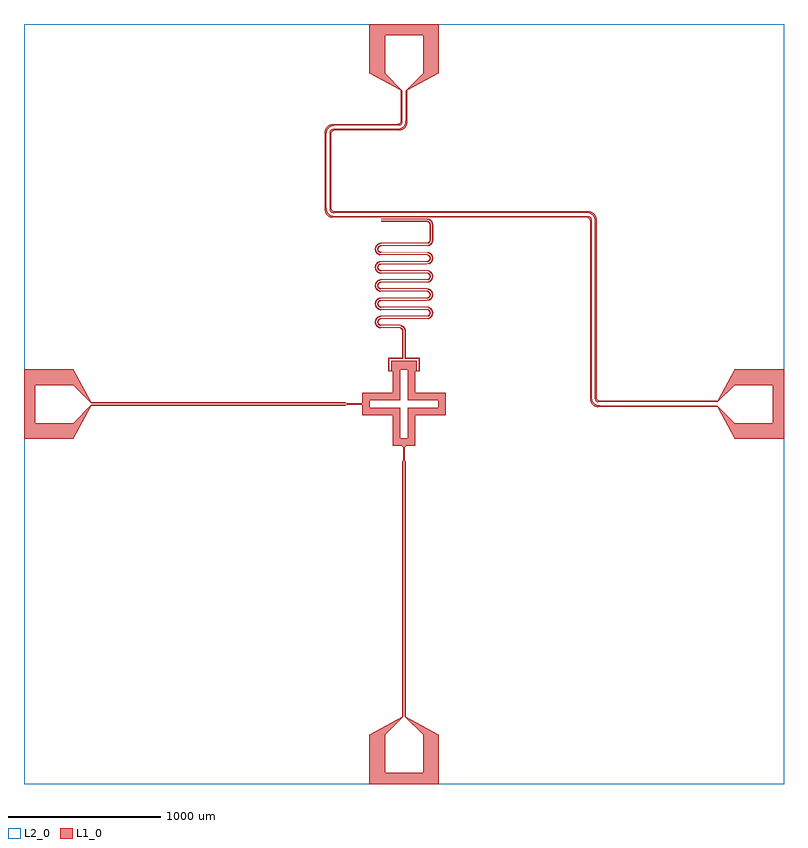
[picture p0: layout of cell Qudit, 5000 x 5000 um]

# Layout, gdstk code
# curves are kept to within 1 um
import gdstk
lib = gdstk.Library(unit=1e-6, precision=1e-09)
def R(c, l, rs):  # rectangles x0, y0, x1, y1
    for r in rs: c.add(gdstk.rectangle(r[:2], r[2:], *l))
def P(c, l, *ps):  # polygons
    for p in ps: c.add(gdstk.Polygon(p, *l))
L1_0 = (1, 0)
L2_0 = (2, 0)

qudit = lib.new_cell('Qudit')
P(qudit, L1_0, [(-228,-2500),(-228,-2177),(-10,-2057),(-10,-381),(-4,-371),(-5,-284),(-2,-284),(-2,-371),(-5,-381),(-5,-2057),(-125,-2177),(-125,-2427),(125,-2427),(125,-2177),(5,-2057),(5,-381),(2,-371),(2,-280),(-11,-280),(-11,-278),(13,-278),(13,-280),(4,-280),(4,-371),(10,-381),(10,-2057),(228,-2177),(228,-2500)],
  [(-2500,-228),(-2500,125),(-2427,125),(-2427,-125),(-2177,-125),(-2057,-5),(-386,-5),(-375.5,-2.5),(-282,-2.5),(-282,2.5),(-375.5,2.5),(-386,5),(-2057,5),(-2177,125),(-2500,125),(-2500,228),(-2177,228),(-2057.55,11),(-386,11),(-375.5,5.5),(-279,5.5),(-279,-5.5),(-375.5,-5.5),(-386,-11),(-2057.55,-11),(-2177,-228)],
  [(-74,-275),(-74,-74),(-275,-74),(-275,74),(-74,74),(-74,225),(-24,225),(-24,24),(-225,24),(-225,-24),(-24,-24),(-24,-225),(24,-225),(24,-24),(225,-24),(225,24),(24,24),(24,225),(-74,225),(-74,275),(74,275),(74,74),(275,74),(275,-74),(74,-74),(74,-275)],
  [(-103,214),(-103,304),(-11.002,304),(-11.469,483.186),(-13.548,488.5),(-17.334,493.16),(-22.384,496.406),(-27.896,497.883),(-151.303,498.019),(-159.035,499.006),(-167.624,501.979),(-175.347,506.771),(-181.825,513.146),(-186.739,520.793),(-189.848,529.334),(-190.998,538.349),(-190.134,547.397),(-187.82,554.841),(-183.401,562.783),(-177.34,569.557),(-169.937,574.829),(-161.553,578.341),(-152.602,579.919),(152.403,580.154),(159.757,582.7),(165.474,587.98),(168.594,595.109),(168.708,602.299),(166.451,608.499),(162.666,613.159),(157.059,616.638),(151.203,617.96),(-150.089,618),(-159.035,619.006),(-167.624,621.979),(-176.357,627.591),(-182.629,634.169),(-187.298,641.967),(-190.134,650.603),(-190.957,660.951),(-189.521,669.926),(-186.143,678.364),(-180.121,686.82),(-172.169,693.493),(-162.796,697.954),(-152.602,699.919),(152.403,700.154),(159.235,702.398),(165.116,707.494),(168.31,713.937),(168.803,721.704),(167.021,727.437),(163.109,732.75),(157.615,736.405),(151.203,737.96),(-150.089,738),(-157.762,738.74),(-166.441,741.438),(-174.312,745.983),(-180.989,752.15),(-186.143,759.636),(-189.521,768.074),(-190.957,777.049),(-190.38,786.12),(-187.82,794.841),(-181.825,804.854),(-174.312,812.017),(-165.241,817.064),(-155.192,819.672),(151.203,820.04),(158.704,822.113),(164.744,827.02),(168.31,833.937),(168.88,841.106),(167.021,847.437),(163.109,852.75),(157.615,856.405),(151.203,857.96),(-150.089,858),(-157.762,858.74),(-166.441,861.438),(-174.312,865.983),(-180.989,872.15),(-186.143,879.636),(-189.521,888.074),(-190.957,897.049),(-190.586,904.835),(-188.303,913.633),(-183.401,922.783),(-175.347,931.229),(-166.441,936.562),(-155.192,939.672),(151.203,940.04),(158.704,942.113),(164.744,947.02),(168.31,953.937),(168.88,961.106),(167.021,967.437),(163.109,972.75),(157.615,976.405),(151.203,977.96),(-150.089,978),(-157.762,978.74),(-166.441,981.438),(-173.252,985.228),(-180.121,991.18),(-184.842,997.383),(-188.303,1004.367),(-190.586,1013.165),(-190.957,1020.951),(-189.521,1029.926),(-184.139,1041.711),(-176.357,1050.409),(-166.441,1056.562),(-153.899,1059.816),(149.954,1060),(157.338,1061.476),(161.743,1064.065),(165.298,1067.735),(167.746,1072.219),(168.912,1077.194),(168.976,1179.904),(167.404,1186.618),(163.539,1192.328),(157.891,1196.283),(151.504,1197.94),(-150.002,1198),(-150.002,1204),(151.584,1203.95),(160.383,1201.741),(167.815,1196.537),(172.901,1189.023),(174.97,1180.19),(174.797,1075.835),(173.057,1069.341),(169.892,1063.86),(165.138,1059.106),(159.657,1055.941),(149.978,1054),(-153.329,1053.842),(-164.035,1051.064),(-172.5,1045.812),(-179.743,1037.453),(-183.737,1028.327),(-184.893,1021.774),(-184.646,1014.019),(-183.078,1007.552),(-179.743,1000.547),(-174.947,994.448),(-169.849,990.171),(-164.035,986.936),(-156.626,984.632),(-150.042,984),(151.584,983.949),(160.021,981.902),(167.25,977.093),(172.397,970.101),(174.843,961.771),(174.093,952.338),(169.892,943.86),(162.153,937.154),(153.163,934.202),(-152.222,933.93),(-161.973,931.89),(-170.754,927.185),(-177.854,920.197),(-182.698,911.491),(-184.646,903.981),(-184.893,896.226),(-183.737,889.673),(-180.853,882.47),(-176.454,876.079),(-170.754,870.815),(-164.035,866.936),(-156.626,864.632),(-150.042,864),(151.584,863.949),(160.021,861.902),(167.25,857.093),(172.397,850.101),(174.843,841.771),(174.093,832.338),(169.892,823.86),(162.153,817.154),(153.163,814.202),(-152.222,813.93),(-161.973,811.89),(-169.849,807.829),(-176.454,801.921),(-181.84,793.54),(-184.261,786.168),(-184.998,778.445),(-184.016,770.748),(-181.362,763.457),(-176.454,756.079),(-170.754,750.815),(-164.035,746.936),(-156.626,744.632),(-150.042,744),(151.584,743.949),(160.021,741.902),(167.25,737.093),(172.034,730.806),(174.743,722.558),(174.293,713.106),(169.892,703.86),(162.153,697.154),(153.163,694.202),(-152.222,693.93),(-160.923,692.253),(-168.925,688.444),(-175.713,682.748),(-180.853,675.53),(-183.737,668.327),(-184.963,660.665),(-184.261,651.832),(-181.84,644.46),(-177.168,636.93),(-171.638,631.488),(-165.045,627.397),(-156.626,624.632),(-150.042,624),(151.584,623.949),(159.289,622.209),(166.667,617.631),(171.648,611.5),(174.618,603.341),(174.293,593.106),(169.892,583.86),(162.153,577.154),(153.163,574.202),(-151.112,573.983),(-158.792,572.879),(-166.04,570.11),(-173.339,565.085),(-178.513,559.302),(-182.285,552.522),(-184.471,545.078),(-184.963,537.335),(-183.737,529.673),(-180.853,522.47),(-176.454,516.079),(-170.754,510.815),(-164.035,506.936),(-157.713,504.859),(-151.112,504.017),(-26.444,503.745),(-19.257,501.573),(-13.039,497.365),(-8.553,491.842),(-5.707,484.894),(-5.002,478.98),(-5.002,299),(-98,299),(-98,219),(-83,219),(-83,284),(83,284),(83,219),(98,219),(98,299),(4.998,299),(4.959,480.665),(4.012,487.252),(1.835,493.54),(-1.492,499.302),(-5.849,504.331),(-15.969,511.064),(-27.782,513.93),(-149.962,514),(-157.045,515.013),(-162.157,517.154),(-167.254,520.907),(-170.816,525.152),(-173.626,530.824),(-174.923,537.019),(-174.747,542.558),(-173.355,547.922),(-170.366,553.501),(-166.671,557.631),(-162.157,560.846),(-157.045,562.987),(-150.795,563.987),(155.528,564.439),(161.969,566.11),(167.977,568.97),(173.335,572.915),(178.509,578.698),(181.836,584.46),(184.257,591.832),(184.994,598.445),(184.467,605.078),(180.849,615.53),(173.335,625.085),(164.031,631.064),(153.325,633.842),(-154.733,634.452),(-160.747,636.427),(-165.456,639.349),(-169.896,643.86),(-172.742,648.615),(-174.622,654.659),(-174.973,660.19),(-173.874,666.423),(-171.652,671.5),(-167.819,676.536),(-162.844,680.449),(-157.045,682.987),(-150.795,683.987),(155.528,684.439),(161.969,686.11),(167.977,688.97),(173.335,692.915),(178.509,698.698),(181.836,704.46),(184.012,710.748),(184.959,717.335),(184.642,723.981),(181.358,734.543),(174.151,744.331),(165.041,750.603),(153.325,753.842),(-154.733,754.452),(-160.025,756.098),(-164.824,758.869),(-168.895,762.629),(-172.038,767.194),(-174.097,772.338),(-174.973,777.81),(-174.622,783.341),(-172.742,789.385),(-168.895,795.371),(-163.518,800.031),(-157.045,802.987),(-150.795,803.987),(155.528,804.439),(161.969,806.11),(167.977,808.97),(173.335,812.915),(177.85,817.803),(181.358,823.457),(183.733,829.673),(184.889,836.226),(184.783,842.879),(181.836,853.54),(174.943,863.552),(165.041,870.603),(153.325,873.842),(-154.733,874.452),(-160.025,876.098),(-164.824,878.869),(-171.652,886.5),(-173.874,891.577),(-174.923,897.019),(-174.747,902.558),(-173.355,907.922),(-169.896,914.14),(-164.824,919.131),(-158.552,922.492),(-151.588,923.949),(155.528,924.439),(161.969,926.11),(167.977,928.97),(177.164,936.93),(180.849,942.47),(183.42,948.608),(184.783,955.121),(184.889,961.774),(181.836,973.54),(174.943,983.552),(165.041,990.603),(153.325,993.842),(-154.733,994.452),(-164.178,998.409),(-171.245,1005.82),(-174.747,1015.442),(-174.923,1020.981),(-173.874,1026.423),(-170.816,1032.848),(-165.456,1038.651),(-159.293,1042.209),(-151.588,1043.949),(150.553,1044.004),(157.709,1044.86),(164.031,1046.936),(171.634,1051.488),(177.51,1057.364),(182.062,1064.967),(184.559,1073.47),(184.959,1180.665),(182.281,1192.522),(175.329,1203.153),(165.54,1210.36),(153.877,1213.785),(-150.002,1214),(-150.002,1220),(150.042,1220),(160.295,1218.686),(172.164,1213.492),(181.406,1205.355),(188.061,1194.238),(190.916,1181.6),(190.581,1073.165),(188.298,1064.368),(184.134,1056.289),(178.291,1049.327),(171.059,1043.822),(161.549,1039.66),(150.649,1038.005),(-151.207,1037.96),(-157.063,1036.638),(-162.214,1033.554),(-166.146,1029.017),(-168.314,1024.063),(-168.712,1015.701),(-165.478,1007.98),(-159.239,1002.398),(-151.207,1000.04),(156.476,999.486),(164.021,997.529),(169.933,994.829),(180.117,986.82),(184.135,981.711),(187.816,974.841),(190.87,962.249),(190.747,954.455),(189.15,946.826),(186.139,939.636),(181.821,933.146),(176.353,927.591),(171.059,923.821),(164.021,920.471),(156.476,918.514),(-150.605,917.989),(-155.93,917.05),(-160.775,914.649),(-164.748,910.98),(-167.75,905.78),(-168.884,896.894),(-166.146,888.983),(-160.273,883.017),(-151.808,880.087),(150.085,880),(157.758,879.26),(164.021,877.529),(171.059,874.179),(180.985,865.85),(187.816,854.841),(190.87,842.249),(190.747,834.455),(189.15,826.826),(186.139,819.636),(181.821,813.146),(176.353,807.591),(171.059,803.821),(164.021,800.471),(156.476,798.514),(-150.605,797.989),(-155.355,797.229),(-160.273,794.983),(-164.36,791.441),(-167.284,786.892),(-168.979,778.096),(-166.455,769.501),(-160.273,763.017),(-151.808,760.087),(150.085,760),(157.758,759.26),(169.933,754.829),(180.117,746.82),(187.294,736.033),(190.747,723.545),(190.87,715.751),(189.517,708.074),(186.735,700.793),(182.625,694.169),(177.336,688.443),(171.059,683.821),(164.021,680.471),(156.476,678.514),(-150.605,677.989),(-155.355,677.229),(-159.761,675.3),(-163.542,672.327),(-166.455,668.499),(-168.979,659.904),(-168.598,655.109),(-167.025,650.563),(-164.36,646.559),(-160.775,643.351),(-156.5,641.147),(-151.808,640.087),(150.085,640),(157.758,639.26),(169.933,634.829),(180.117,626.82),(187.294,616.033),(190.582,604.835),(190.953,597.049),(189.844,589.334),(187.294,581.967),(183.397,575.217),(178.292,569.326),(172.165,564.507),(164.021,560.471),(156.476,558.514),(-150.605,557.989),(-158.708,555.887),(-165.12,550.506),(-168.712,542.299),(-168.941,537.494),(-167.956,532.786),(-163.113,525.25),(-159.239,522.398),(-154.773,520.61),(-26.753,519.871),(-13.564,516.561),(-2.183,509.119),(3.014,503.309),(7.018,496.622),(9.684,489.297),(10.916,481.6),(10.998,304),(103,304),(103,214),(78,214),(78,279),(-78,279),(-78,214)],
  [(2177,-228),(2063.605,-22),(1287.238,-21.9),(1270.724,-19.993),(1256.503,-15.01),(1244.232,-6.708),(1234.499,4.461),(1226.511,22.603),(1224.014,45.507),(1224,1197.319),(1236,1197.319),(1236.011,45.899),(1238.02,26.043),(1244.586,10.965),(1252.705,1.824),(1262.817,-4.739),(1274.576,-8.54),(1288.644,-9.936),(2062,-10),(2177,-125),(2427,-125),(2427,125),(2177,125),(2062,10),(1291.297,10.018),(1274.357,12.147),(1263.256,19.438),(1257.598,30.204),(1256.006,46.709),(1256,1197.319),(1268,1197.319),(1268.001,48.036),(1268.672,35.782),(1271.019,29.006),(1278.027,23.573),(1291.92,22.012),(2063.605,22),(2177,228),(2500,228),(2500,-228)],
  [(1256,1197.319),(1253.474,1221.868),(1249.728,1231.188),(1243.95,1239.556),(1236.45,1246.425),(1227.29,1251.583),(1217.266,1254.571),(1204.947,1255.886),(-452.903,1256.004),(-469.796,1257.598),(-480.562,1263.256),(-487.853,1274.357),(-489.986,1291.679),(-489.986,1774.321),(-488.746,1788.375),(-484.86,1797.811),(-474.448,1806.745),(-458.926,1809.87),(-43.929,1810.036),(-26.043,1812.02),(-12.124,1817.833),(-3.447,1824.913),(3.143,1833.754),(7.382,1843.813),(9.563,1855.852),(10,2062),(125,2177),(125,2427),(-228,2427),(-228,2500),(228,2500),(228,2177),(22,2063.605),(21.26,1852.315),(18.022,1837.68),(11.861,1825.009),(2.74,1814.171),(-8.761,1805.902),(-23.764,1800.226),(-41.553,1798.09),(-455.27,1797.973),(-467.694,1796.519),(-474.338,1791.906),(-477.134,1785.285),(-477.992,1773.593),(-477.998,1293.654),(-476.868,1279.533),(-472.61,1272.243),(-465.575,1268.926),(-452.346,1268.002),(1206.201,1267.845),(1222.044,1265.819),(1235.497,1261.01),(1247.109,1253.283),(1256.637,1242.801),(1261.952,1233.526),(1265.538,1223.203),(1268,1197.319)],
  [(1224,1197.319),(1223.192,1210.989),(1220.086,1218.224),(1213.694,1222.519),(1202.193,1223.955),(-454.493,1224.014),(-468.58,1224.85),(-480.93,1227.519),(-491.622,1232.113),(-500.943,1238.575),(-510.256,1248.666),(-516.9,1260.679),(-520.689,1274.309),(-521.974,1290.469),(-521.936,1777.51),(-518.605,1800.534),(-509.078,1818.909),(-500.104,1828.125),(-489.497,1835.01),(-477.397,1839.489),(-463.511,1841.654),(-42.91,1842.069),(-29.307,1844.831),(-25.244,1848.668),(-23.003,1854.073),(-22,2063.605),(-228,2177),(-228,2427),(-125,2427),(-125,2177),(-10,2062),(-10.006,1866.709),(-11.3,1851.419),(-14.621,1843.002),(-20.625,1836.269),(-27.981,1832.275),(-38.109,1830.316),(-458.947,1829.886),(-471.897,1828.444),(-482.399,1825.101),(-491.555,1819.595),(-499.275,1811.963),(-507.191,1796.826),(-509.953,1776.641),(-509.982,1291.199),(-508.983,1277.085),(-505.97,1265.665),(-500.627,1255.83),(-492.9,1247.489),(-476.187,1238.618),(-453.545,1236.007),(1203.337,1235.929),(1220.971,1232.495),(1227.342,1228.024),(1232.144,1221.658),(1235.188,1212.047),(1236,1197.319)])
R(qudit, L2_0, [(-2500,-2500,2500,2500)])

lib.write_gds('Qudit.gds')
